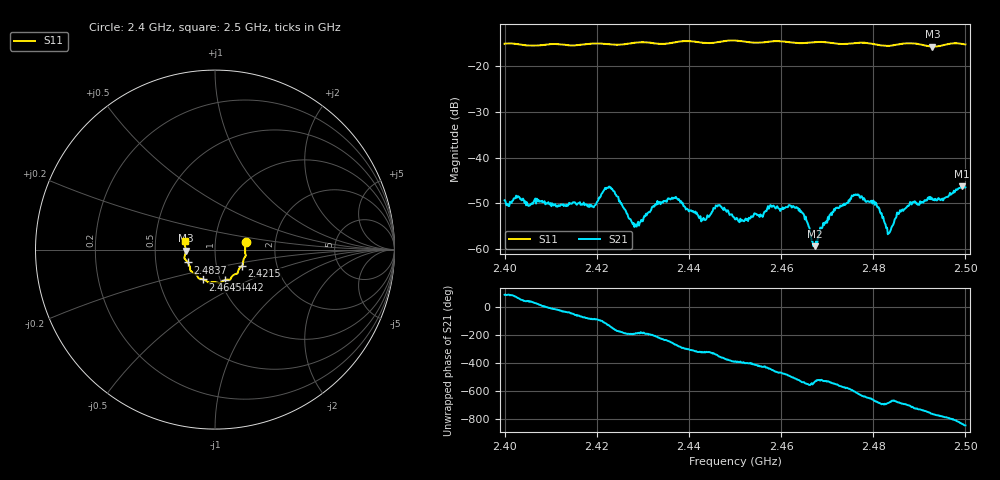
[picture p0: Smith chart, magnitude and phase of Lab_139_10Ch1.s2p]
# Hz S RI R 50
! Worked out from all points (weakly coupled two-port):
!   601 points, 2.4 GHz to 2.5 GHz, reference 50 ohm
!   highest |S21| = -46.23 dB at 2.4992 GHz (marker M1); lowest = -59.4 dB at 2.4673 GHz (marker M2)
!   lowest |S11| = -15.7 dB at 2.4928 GHz (marker M3), VSWR 1.39, Z = 35.9 - j0.383 ohm
!   |S11| at or under -10 dB: start of sweep to end of sweep
!   S12 and S22 are empty: the file has one direction only
!   S11 on the Smith chart (normalised r, x): 2.4 GHz: 1.41, +0.12; 2.4215 GHz: 1.33, -0.25; 2.4442 GHz: 1.05, -0.37; 2.4645 GHz: 0.83, -0.29; 2.4837 GHz: 0.73, -0.11; 2.5 GHz: 0.71, +0.07
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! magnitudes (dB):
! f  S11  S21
! 2.4 GHz  -15.1  -49.3
! 2.4167 GHz  -15.3  -50.2
! 2.4215 GHz  -15.1  -47.2
! 2.4233 GHz  -15.3  -46.8
! 2.4282 GHz  -14.9  -55.2
! 2.4333 GHz  -15.1  -50.1
! 2.4373 GHz  -14.7  -48.9
! 2.4442 GHz  -15.0  -52.8
! 2.4463 GHz  -14.7  -50.4
! 2.45 GHz  -14.4  -53.5
! 2.4645 GHz  -15.0  -52.0
! 2.4667 GHz  -14.8  -58.2
! 2.4673 GHz  -14.7  -59.4
! 2.471 GHz  -14.9  -52.6
! 2.4763 GHz  -14.9  -48.1
! 2.4805 GHz  -15.3  -49.8
! 2.4833 GHz  -15.6  -56.6
! 2.4837 GHz  -15.5  -56.2
! 2.4877 GHz  -15.0  -50.6
! 2.4928 GHz  -15.7  -49.2
! 2.4992 GHz  -15.1  -46.2
! 2.5 GHz  -15.3  -46.5
